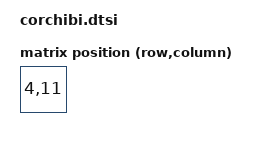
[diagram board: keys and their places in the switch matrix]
#include <dt-bindings/zmk/matrix_transform.h>
#include <dt-bindings/zmk/input_transform.h>
#include <dt-bindings/input/input-event-codes.h>
#include <dt-bindings/zmk/bt.h>
#include <input/processors.dtsi>
#include <physical_layouts.dtsi>

&uicr {
    nfct-pins-as-gpios;
};

/ {
    chosen {
        zmk,physical-layout = &default_layout;
        zmk,kscan = &kscan0;
    };

    kscan0: kscan {
        compatible = "zmk,kscan-gpio-charlieplex";
        wakeup-source;
    };

    split_inputs {
        #address-cells = <1>;
        #size-cells = <0>;

        trackball_split_L: trackball_split_L@0 {
            compatible = "zmk,input-split";
            reg = <0>;
        };
    };

    trackball_listener_L: trackball_listener_L {
        compatible = "zmk,input-listener";
        status = "okay";
        device = <&trackball_split_L>;
        input-processors =
            <&zip_xy_transform (INPUT_TRANSFORM_Y_INVERT)>,
            <&zip_xy_scaler 1 15>,
            <&zip_xy_scaler 1 10>,
            <&zip_xy_to_scroll_mapper>;
    };

    trackball_listener_R: trackball_listener_R {
        compatible = "zmk,input-listener";
        status = "disabled";
    };

    default_transform: keymap_transform_0 {
        compatible = "zmk,matrix-transform";
        columns = <12>;
        rows = <6>;
        map = <
            RC(0,1)  RC(0,2)  RC(0,3)  RC(0,4)
            RC(1,0)  RC(1,2)  RC(1,3)  RC(1,4)
            RC(2,0)  RC(2,1)  RC(2,3)  RC(2,4)
            RC(3,0)  RC(3,1)  RC(3,2)  RC(3,4)
            RC(4,0)  RC(4,1)  RC(4,2)  RC(4,3)
            RC(0,5)  RC(1,5)  RC(2,5)  RC(3,5)  RC(4,5)

            RC(0,7)  RC(0,8)  RC(0,9)  RC(0,10)
            RC(1,6)  RC(1,8)  RC(1,9)  RC(1,10)
            RC(2,6)  RC(2,7)  RC(2,9)  RC(2,10)
            RC(3,6)  RC(3,7)  RC(3,8)  RC(3,10)
            RC(4,6)  RC(4,7)  RC(4,8)  RC(4,9)
            RC(0,11) RC(1,11) RC(2,11) RC(3,11) RC(4,11)
        >;
    };

    default_layout: default_layout {
        compatible = "zmk,physical-layout";
        display-name = "Default";
        transform = <&default_transform>;
        kscan = <&kscan0>;

        keys
            = <&key_physical_attrs 100 100 0 0 0 0 0>
            , <&key_physical_attrs 100 100 0 0 0 0 0>
            , <&key_physical_attrs 100 100 0 0 0 0 0>
            , <&key_physical_attrs 100 100 0 0 0 0 0>
            
            , <&key_physical_attrs 100 100 0 0 0 0 0>
            , <&key_physical_attrs 100 100 0 0 0 0 0>
            , <&key_physical_attrs 100 100 0 0 0 0 0>
            , <&key_physical_attrs 100 100 0 0 0 0 0>

            , <&key_physical_attrs 100 100 0 0 0 0 0>
            , <&key_physical_attrs 100 100 0 0 0 0 0>
            , <&key_physical_attrs 100 100 0 0 0 0 0>
            , <&key_physical_attrs 100 100 0 0 0 0 0>

            , <&key_physical_attrs 100 100 0 0 0 0 0>
            , <&key_physical_attrs 100 100 0 0 0 0 0>
            , <&key_physical_attrs 100 100 0 0 0 0 0>
            , <&key_physical_attrs 100 100 0 0 0 0 0>

            , <&key_physical_attrs 100 100 0 0 0 0 0>
            , <&key_physical_attrs 100 100 0 0 0 0 0>
            , <&key_physical_attrs 100 100 0 0 0 0 0>
            , <&key_physical_attrs 100 100 0 0 0 0 0>

            , <&key_physical_attrs 100 100 0 0 0 0 0>
            , <&key_physical_attrs 100 100 0 0 0 0 0>
            , <&key_physical_attrs 100 100 0 0 0 0 0>
            , <&key_physical_attrs 100 100 0 0 0 0 0>
            , <&key_physical_attrs 100 100 0 0 0 0 0>
            
            , <&key_physical_attrs 100 100 0 0 0 0 0>
            , <&key_physical_attrs 100 100 0 0 0 0 0>
            , <&key_physical_attrs 100 100 0 0 0 0 0>
            , <&key_physical_attrs 100 100 0 0 0 0 0>
     
            , <&key_physical_attrs 100 100 0 0 0 0 0>
            , <&key_physical_attrs 100 100 0 0 0 0 0>
            , <&key_physical_attrs 100 100 0 0 0 0 0>
            , <&key_physical_attrs 100 100 0 0 0 0 0>
     
            , <&key_physical_attrs 100 100 0 0 0 0 0>
            , <&key_physical_attrs 100 100 0 0 0 0 0>
            , <&key_physical_attrs 100 100 0 0 0 0 0>
            , <&key_physical_attrs 100 100 0 0 0 0 0>
     
            , <&key_physical_attrs 100 100 0 0 0 0 0>
            , <&key_physical_attrs 100 100 0 0 0 0 0>
            , <&key_physical_attrs 100 100 0 0 0 0 0>
            , <&key_physical_attrs 100 100 0 0 0 0 0>
     
            , <&key_physical_attrs 100 100 0 0 0 0 0>
            , <&key_physical_attrs 100 100 0 0 0 0 0>
            , <&key_physical_attrs 100 100 0 0 0 0 0>
            , <&key_physical_attrs 100 100 0 0 0 0 0>
     
            , <&key_physical_attrs 100 100 0 0 0 0 0>
            , <&key_physical_attrs 100 100 0 0 0 0 0>
            , <&key_physical_attrs 100 100 0 0 0 0 0>
            , <&key_physical_attrs 100 100 0 0 0 0 0>
            , <&key_physical_attrs 100 100 0 0 0 0 0>
            ;
    };
};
